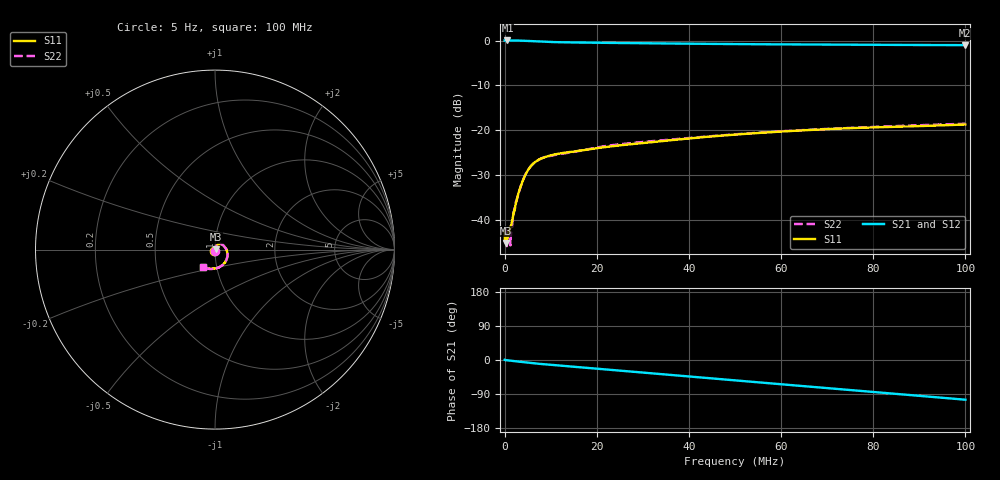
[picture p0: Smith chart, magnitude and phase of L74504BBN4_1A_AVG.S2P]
!Agilent Technologies,E5061B,MY49102235,A.02.00
!Date: Tue Jul 11 16:34:03 2023
!Data & Calibration Information:
!Freq	S11:SOLT2(ON)	S21:SOLT2(ON)	S12:SOLT2(ON)	S22:SOLT2(ON)
# Hz S RI R 50
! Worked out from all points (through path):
!   1600 points, 5 Hz to 100 MHz, reference 50 ohm
!   highest |S21| = 0.02 dB at 625.4 kHz (marker M1); lowest = -1.0 dB at 99.81 MHz (marker M2)
!   group delay of S21, straight-line fit = 2.85 ns
!   lowest |S11| = -45.1 dB at 250.2 kHz (marker M3), VSWR 1.01, Z = 50.5 + j0.155 ohm
!   |S11| at or under -10 dB: start of sweep to end of sweep
!   |S22| runs from -45.8 to -18.5 dB; largest |S21 - S12| = 0.0026
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5  -0.00523 -0.00563  1.002 0.00805  1 0.0102  -0.00148 -0.00756
250161.3  0.00533 0.00153  1.001 -0.00483  1.001 -0.00491  0.0073 -0.000315
625395.8  0.00527 0.00366  1.002 -0.0148  1.002 -0.0143  0.0063 0.00326
938091.3  0.00468 0.00598  1.001 -0.0215  1.001 -0.0211  0.00623 0.00541
1313326  0.00505 0.00676  1 -0.0305  1.001 -0.0306  0.00325 0.00523
1688560  0.00468 0.00893  0.9997 -0.0409  1.001 -0.0411  0.00442 0.00811
2063795  0.00434 0.012  1 -0.0506  0.9995 -0.0508  0.00478 0.0118
2376490  0.00497 0.0139  0.9981 -0.0582  0.9987 -0.0585  0.00563 0.0142
2939342  0.00717 0.0179  0.9967 -0.0729  0.9963 -0.0729  0.00613 0.0183
3439655  0.00906 0.0215  0.994 -0.0857  0.9943 -0.0858  0.00796 0.0219
4565358  0.0157 0.0283  0.9857 -0.1139  0.9855 -0.1136  0.0153 0.0287
5816140  0.0258 0.0316  0.9736 -0.1409  0.9734 -0.1409  0.0252 0.0317
7442156  0.0366 0.0297  0.9586 -0.1698  0.9585 -0.1697  0.0364 0.0302
9380868  0.0451 0.0248  0.9438 -0.2015  0.9436 -0.2013  0.0447 0.0249
1.669794e7  0.0591 0.00745  0.8947 -0.3167  0.8946 -0.3165  0.0589 0.00728
2.345216e7  0.0662 -0.00612  0.8421 -0.4201  0.8419 -0.4198  0.0681 -0.00735
3.333334e7  0.0692 -0.0292  0.7445 -0.5568  0.7445 -0.5565  0.0704 -0.0304
5.003127e7  0.0566 -0.0694  0.5381 -0.7382  0.538 -0.738  0.0565 -0.0705
6.672921e7  0.0203 -0.0991  0.296 -0.8517  0.2962 -0.8516  0.0211 -0.0996
8.33646e7  -0.0234 -0.1064  0.0361 -0.8936  0.036 -0.8937  -0.0229 -0.1083
9.981238e7  -0.0653 -0.0959  -0.2238 -0.8598  -0.2237 -0.86  -0.0653 -0.0985
1e8  -0.0658 -0.0957  -0.2268 -0.8591  -0.2267 -0.8591  -0.0658 -0.0985
